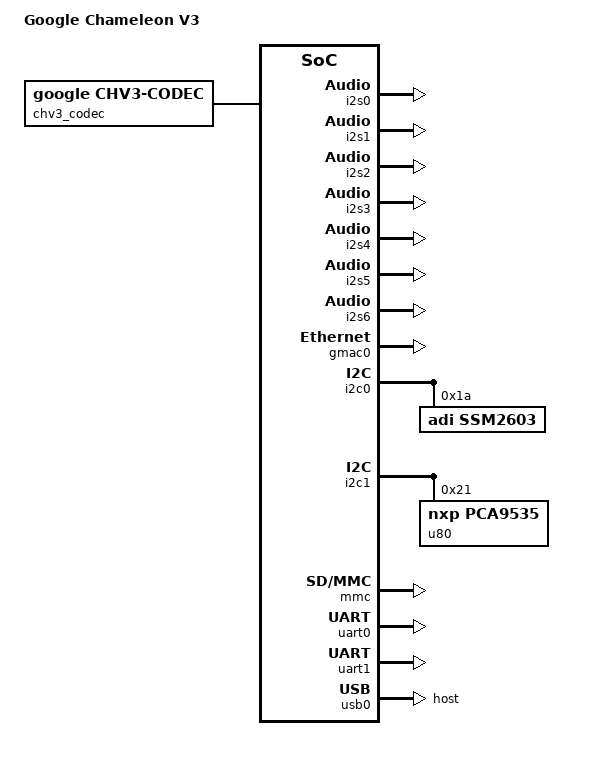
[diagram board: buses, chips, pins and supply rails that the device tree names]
// SPDX-License-Identifier: GPL-2.0
/*
 * Copyright 2022 Google LLC
 */
/dts-v1/;
#include "socfpga_arria10_mercury_aa1.dtsi"

/ {
	model = "Google Chameleon V3";
	compatible = "google,chameleon-v3", "enclustra,mercury-aa1",
		     "altr,socfpga-arria10", "altr,socfpga";

	aliases {
		serial0 = &uart0;
		i2c0 = &i2c0;
		i2c1 = &i2c1;
	};

	soc {
		i2s0: i2s@c0060300 {
			compatible = "google,chv3-i2s";
			reg = <0xc0060300 0x100>,
			      <0xc0060f00 0x10>;
			interrupts = <0 20 IRQ_TYPE_LEVEL_HIGH>;
			#sound-dai-cells = <0>;
		};

		i2s1: i2s@c0060400 {
			compatible = "google,chv3-i2s";
			reg = <0xc0060400 0x100>,
			      <0xc0060f10 0x10>;
			interrupts = <0 21 IRQ_TYPE_LEVEL_HIGH>;
			#sound-dai-cells = <0>;
		};

		i2s2: i2s@c0061100 {
			compatible = "google,chv3-i2s";
			reg = <0xc0061100 0x100>,
			      <0xc0060f90 0x10>;
			interrupts = <0 28 IRQ_TYPE_LEVEL_HIGH>;
			#sound-dai-cells = <0>;
		};

		i2s3: i2s@c0061200 {
			compatible = "google,chv3-i2s";
			reg = <0xc0061200 0x100>,
			      <0xc0060fa0 0x10>;
			interrupts = <0 29 IRQ_TYPE_LEVEL_HIGH>;
			#sound-dai-cells = <0>;
		};

		i2s4: i2s@c0061300 {
			compatible = "google,chv3-i2s";
			reg = <0xc0061300 0x100>,
			      <0xc0060fb0 0x10>;
			interrupts = <0 30 IRQ_TYPE_LEVEL_HIGH>;
			#sound-dai-cells = <0>;
		};

		i2s5: i2s@c0061400 {
			compatible = "google,chv3-i2s";
			reg = <0xc0061400 0x100>,
			      <0xc0060fc0 0x10>;
			interrupts = <0 31 IRQ_TYPE_LEVEL_HIGH>;
			#sound-dai-cells = <0>;
		};

		i2s6: i2s@c0061500 {
			compatible = "google,chv3-i2s";
			reg = <0xc0061500 0x100>,
			      <0xc0060fd0 0x10>;
			interrupts = <0 32 IRQ_TYPE_LEVEL_HIGH>;
			#sound-dai-cells = <0>;
		};
	};

	sound {
		compatible = "simple-audio-card";
		simple-audio-card,name = "chv3-audio";
		#address-cells = <1>;
		#size-cells = <0>;

		simple-audio-card,dai-link@0 {
			reg = <0>;
			cpu {
				sound-dai = <&i2s0>;
			};
			codec {
				sound-dai = <&chv3_codec>;
			};
		};

		simple-audio-card,dai-link@1 {
			reg = <1>;
			format = "i2s";
			cpu {
				sound-dai = <&i2s1>;
			};
			codec {
				sound-dai = <&ssm2603>;
				bitclock-master;
				frame-master;
				system-clock-frequency = <22579200>;
				mclk-fs = <512>;
			};
		};

		simple-audio-card,dai-link@2 {
			reg = <2>;
			cpu {
				sound-dai = <&i2s2>;
			};
			codec {
				sound-dai = <&chv3_codec>;
			};
		};

		simple-audio-card,dai-link@3 {
			reg = <3>;
			cpu {
				sound-dai = <&i2s3>;
			};
			codec {
				sound-dai = <&chv3_codec>;
			};
		};

		simple-audio-card,dai-link@4 {
			reg = <4>;
			cpu {
				sound-dai = <&i2s4>;
			};
			codec {
				sound-dai = <&chv3_codec>;
			};
		};

		simple-audio-card,dai-link@5 {
			reg = <5>;
			cpu {
				sound-dai = <&i2s5>;
			};
			codec {
				sound-dai = <&chv3_codec>;
			};
		};

		simple-audio-card,dai-link@6 {
			reg = <6>;
			cpu {
				sound-dai = <&i2s6>;
			};
			codec {
				sound-dai = <&chv3_codec>;
			};
		};
	};

	chv3_codec: audio-codec {
		compatible = "google,chv3-codec";
		#sound-dai-cells = <0>;
	};
};

&gmac0 {
	status = "okay";
};

&gpio0 {
	status = "okay";
};

&gpio1 {
	status = "okay";
};

&gpio2 {
	status = "okay";
};

&i2c0 {
	status = "okay";

	ssm2603: audio-codec@1a {
		compatible = "adi,ssm2603";
		reg = <0x1a>;
		#sound-dai-cells = <0>;
	};
};

&i2c1 {
	status = "okay";

	u80: gpio@21 {
		compatible = "nxp,pca9535";
		reg = <0x21>;
		gpio-controller;
		#gpio-cells = <2>;

		gpio-line-names =
			"SOM_AUD_MUTE",
			"DP1_OUT_CEC_EN",
			"DP2_OUT_CEC_EN",
			"DP1_SOM_PS8469_CAD",
			"DPD_SOM_PS8469_CAD",
			"DP_OUT_PWR_EN",
			"STM32_RST_L",
			"STM32_BOOT0",

			"FPGA_PROT",
			"STM32_FPGA_COMM0",
			"TP119",
			"TP120",
			"TP121",
			"TP122",
			"TP123",
			"TP124";
	};
};

&mmc {
	status = "okay";
};

&uart0 {
	status = "okay";
};

&uart1 {
	status = "okay";
};

&usb0 {
	status = "okay";
	dr_mode = "host";
};
